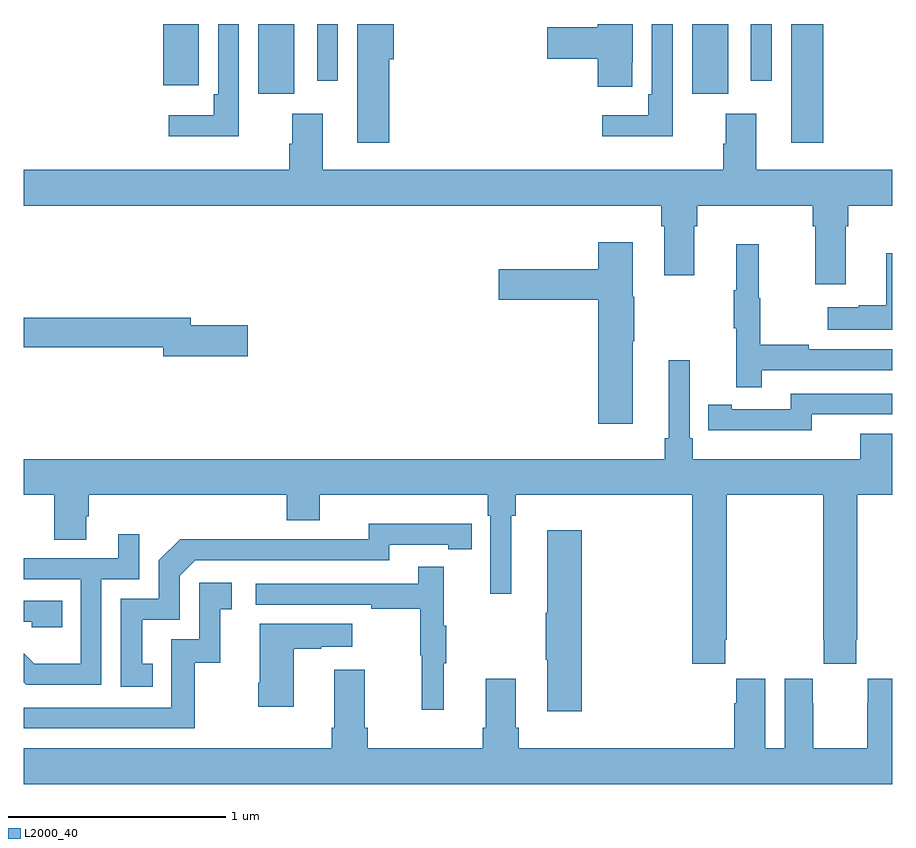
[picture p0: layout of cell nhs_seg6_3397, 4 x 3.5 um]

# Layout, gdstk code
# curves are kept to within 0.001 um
import gdstk
lib = gdstk.Library(unit=1e-6, precision=1e-09)
def R(c, l, rs):  # rectangles x0, y0, x1, y1
    for r in rs: c.add(gdstk.rectangle(r[:2], r[2:], *l))
def P(c, l, *ps):  # polygons
    for p in ps: c.add(gdstk.Polygon(p, *l))
L2000_40 = (2000, 40)

nhs_seg6_3397 = lib.new_cell('nhs_seg6_3397')
R(nhs_seg6_3397, L2000_40, [(314.534,952.953,314.681,953.5), (312.08,953.178,312.247,953.5), (314.078,953.178,314.245,953.5), (311.642,953.219,311.806,953.5), (312.351,953.238,312.447,953.5), (314.349,953.238,314.445,953.5)])
P(nhs_seg6_3397, L2000_40, [(311.991,953.5),(311.895,953.5),(311.895,953.176),(311.875,953.176),(311.875,953.08),(311.667,953.08),(311.667,952.982),(311.991,952.982)],
  [(313.989,953.5),(313.893,953.5),(313.893,953.176),(313.877,953.176),(313.877,953.08),(313.665,953.08),(313.665,952.982),(313.989,952.982)],
  [(313.803,953.323),(313.804,953.323),(313.804,953.5),(313.643,953.5),(313.643,953.486),(313.41,953.486),(313.41,953.339),(313.643,953.339),(313.643,953.211),(313.803,953.211)],
  [(312.683,953.337),(312.704,953.337),(312.704,953.5),(312.536,953.5),(312.536,952.953),(312.683,952.953)],
  [(314.785,952.568),(314.798,952.568),(314.798,952.664),(315,952.664),(315,952.828),(314.374,952.828),(314.374,953.086),(314.234,953.086),(314.234,952.949),(314.222,952.949),(314.222,952.828),(312.376,952.828),(312.376,953.086),(312.236,953.086),(312.236,952.949),(312.224,952.949),(312.224,952.828),(311,952.828),(311,952.664),(313.937,952.664),(313.937,952.568),(313.949,952.568),(313.949,952.344),(314.089,952.344),(314.089,952.568),(314.102,952.568),(314.102,952.664),(314.633,952.664),(314.633,952.568),(314.645,952.568),(314.645,952.302),(314.785,952.302)],
  [(313.804,952.039),(313.812,952.039),(313.812,952.245),(313.804,952.245),(313.804,952.495),(313.646,952.495),(313.646,952.371),(313.188,952.371),(313.188,952.229),(313.646,952.229),(313.646,951.66),(313.804,951.66)],
  [(314.399,951.906),(315,951.906),(315,952.002),(314.615,952.002),(314.615,952.022),(314.392,952.022),(314.392,952.236),(314.384,952.236),(314.384,952.486),(314.282,952.486),(314.282,952.273),(314.271,952.273),(314.271,952.099),(314.282,952.099),(314.282,951.828),(314.399,951.828)],
  [(315,952.444),(314.972,952.444),(314.972,952.205),(314.846,952.205),(314.846,952.195),(314.703,952.195),(314.703,952.091),(315,952.091)],
  [(312.031,952.112),(311.77,952.112),(311.77,952.148),(311,952.148),(311,952.012),(311.642,952.012),(311.642,951.97),(312.031,951.97)],
  [(314.231,950.665),(314.238,950.665),(314.238,951.332),(314.683,951.332),(314.683,950.665),(314.685,950.665),(314.685,950.553),(314.835,950.553),(314.835,950.665),(314.838,950.665),(314.838,951.332),(315,951.332),(315,951.613),(314.852,951.613),(314.852,951.496),(314.081,951.496),(314.081,951.592),(314.067,951.592),(314.067,951.952),(313.97,951.952),(313.97,951.592),(313.951,951.592),(313.951,951.496),(311,951.496),(311,951.332),(311.14,951.332),(311.14,951.124),(311.287,951.124),(311.287,951.234),(311.3,951.234),(311.3,951.332),(312.212,951.332),(312.212,951.215),(312.364,951.215),(312.364,951.332),(313.136,951.332),(313.136,951.236),(313.149,951.236),(313.149,950.877),(313.246,950.877),(313.246,951.236),(313.265,951.236),(313.265,951.332),(314.078,951.332),(314.078,950.553),(314.231,950.553)],
  [(314.628,951.702),(315,951.702),(315,951.798),(314.532,951.798),(314.532,951.726),(314.26,951.726),(314.26,951.746),(314.152,951.746),(314.152,951.63),(314.26,951.63),(314.26,951.629),(314.628,951.629)],
  [(311.594,950.553),(311.545,950.553),(311.545,950.757),(311.718,950.757),(311.718,950.958),(311.79,951.03),(312.684,951.03),(312.684,951.102),(312.956,951.102),(312.956,951.082),(313.064,951.082),(313.064,951.198),(312.588,951.199),(312.588,951.126),(312.128,951.126),(312.128,951.128),(311.72,951.128),(311.622,951.03),(311.622,950.853),(311.448,950.853),(311.448,950.448),(311.594,950.448)],
  [(313.571,951.169),(313.412,951.169),(313.412,950.789),(313.405,950.789),(313.405,950.572),(313.412,950.572),(313.412,950.334),(313.571,950.334)],
  [(311.358,950.943),(311.532,950.943),(311.532,951.151),(311.435,951.151),(311.435,951.039),(311,951.039),(311,950.943),(311.262,950.943),(311.262,950.554),(311.048,950.554),(311,950.602),(311,950.469),(311.012,950.457),(311.358,950.457)],
  [(312.935,950.555),(312.946,950.555),(312.946,950.729),(312.935,950.729),(312.935,951.001),(312.817,951.001),(312.817,950.922),(312.069,950.922),(312.069,950.826),(312.601,950.826),(312.601,950.806),(312.825,950.806),(312.825,950.592),(312.832,950.592),(312.832,950.343),(312.935,950.343)],
  [(311.788,950.559),(311.906,950.559),(311.906,950.805),(311.959,950.805),(311.959,950.926),(311.808,950.926),(311.808,950.667),(311.679,950.667),(311.679,950.352),(311,950.352),(311,950.256),(311.788,950.256)],
  [(311.177,950.844),(311,950.844),(311,950.748),(311.037,950.748),(311.037,950.721),(311.177,950.721)],
  [(312.244,950.623),(312.371,950.623),(312.371,950.633),(312.514,950.633),(312.514,950.737),(312.086,950.737),(312.086,950.467),(312.079,950.467),(312.079,950.355),(312.244,950.355)],
  [(315,950.485),(314.886,950.485),(314.886,950.372),(314.885,950.372),(314.885,950.164),(314.635,950.164),(314.635,950.372),(314.634,950.372),(314.634,950.485),(314.504,950.485),(314.504,950.164),(314.416,950.164),(314.416,950.485),(314.282,950.485),(314.282,950.372),(314.273,950.372),(314.273,950.164),(313.28,950.164),(313.28,950.26),(313.267,950.26),(313.267,950.485),(313.127,950.485),(313.127,950.26),(313.115,950.26),(313.115,950.164),(312.584,950.164),(312.584,950.26),(312.571,950.26),(312.571,950.527),(312.431,950.527),(312.431,950.26),(312.419,950.26),(312.419,950.164),(311,950.164),(311,950),(315,950)])

lib.write_gds('nhs_seg6_3397.gds')
